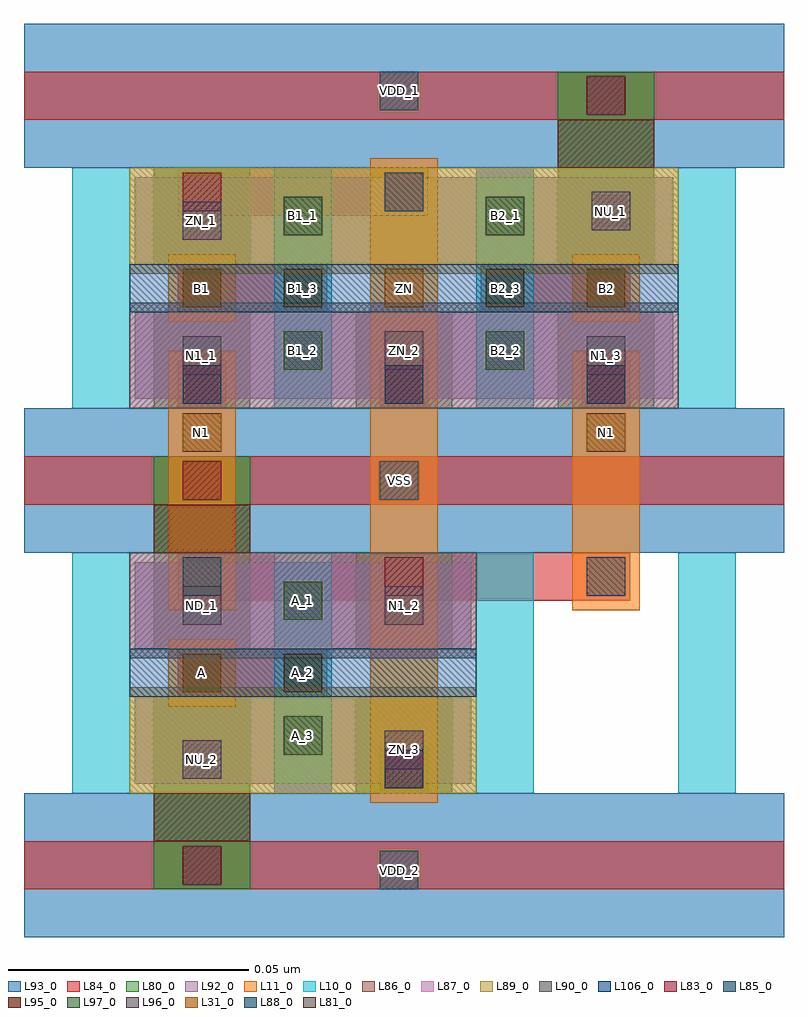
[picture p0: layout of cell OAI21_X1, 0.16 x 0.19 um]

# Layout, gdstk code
import gdstk
lib = gdstk.Library(unit=1e-6, precision=1e-09)
def R(c, l, rs):  # rectangles x0, y0, x1, y1
    for r in rs: c.add(gdstk.rectangle(r[:2], r[2:], *l))
def A(c, l, x, y, w, h, nx, ny, dx, dy):  # array of equal rectangles
    R(c, l, [(x+i*dx, y+j*dy, x+i*dx+w, y+j*dy+h) for i in range(nx) for j in range(ny)])
L10_0 = (10, 0)
L11_0 = (11, 0)
L31_0 = (31, 0)
L80_0 = (80, 0)
L81_0 = (81, 0)
L83_0 = (83, 0)
L84_0 = (84, 0)
L85_0 = (85, 0)
L86_0 = (86, 0)
L87_0 = (87, 0)
L88_0 = (88, 0)
L89_0 = (89, 0)
L90_0 = (90, 0)
L92_0 = (92, 0)
L93_0 = (93, 0)
L95_0 = (95, 0)
L96_0 = (96, 0)
L97_0 = (97, 0)
L106_0 = (106, 0)

oai21_x1 = lib.new_cell('OAI21_X1')
A(oai21_x1, L10_0, -0.027, -0.065, 0.012, 0.05, 4, 2, 0.042, 0.08)
A(oai21_x1, L11_0, -0.007, -0.027, 0.014, 0.034, 3, 2, 0.042, 0.02)
R(oai21_x1, L11_0, [(0.035,-0.067,0.049,-0.033), (-0.007,-0.047,0.007,-0.033), (0.035,-0.047,0.049,-0.013), (0.035,0.013,0.049,0.047), (-0.007,0.033,0.007,0.047), (0.035,0.033,0.049,0.067), (0.077,0.033,0.091,0.047)])
A(oai21_x1, L31_0, -0.004, 0.036, 0.008, 0.008, 3, 1, 0.042, 0)
R(oai21_x1, L31_0, [(-0.004,-0.044,0.004,-0.036), (-0.004,0.006,0.004,0.014), (0.08,0.006,0.088,0.014)])
A(oai21_x1, L80_0, -0.01, 0.015, 0.02, 0.02, 3, 1, 0.042, 0)
R(oai21_x1, L80_0, [(-0.01,-0.085,0.01,-0.064), (-0.01,-0.065,0.01,-0.045), (0.032,-0.065,0.052,-0.045), (-0.01,-0.035,0.01,-0.015), (-0.01,-0.035,0.01,-0.015), (0.032,-0.035,0.052,-0.015), (0.032,-0.035,0.052,-0.015), (-0.01,-0.024,0.01,0.005), (-0.01,0.045,0.01,0.065), (-0.01,0.045,0.01,0.065), (0.074,0.045,0.094,0.065), (0.074,0.045,0.094,0.065), (0.074,0.056,0.094,0.085)])
R(oai21_x1, L81_0, [(0.017,-0.044,0.025,-0.036), (0.017,0.036,0.025,0.044), (0.059,0.036,0.067,0.044)])
A(oai21_x1, L83_0, -0.004, 0.016, 0.008, 0.008, 3, 1, 0.042, 0)
R(oai21_x1, L83_0, [(-0.004,-0.084,0.004,-0.076), (0.038,-0.064,0.046,-0.056), (0.038,-0.024,0.046,-0.016), (-0.004,-0.004,0.004,0.004), (-0.004,0.056,0.004,0.064), (-0.004,0.056,0.004,0.064), (-0.004,0.056,0.004,0.064), (-0.004,0.056,0.004,0.064), (0.08,0.076,0.088,0.084)])
A(oai21_x1, L84_0, -0.037, -0.085, 0.158, 0.01, 1, 3, 0, 0.08)
A(oai21_x1, L84_0, -0.005, -0.025, 0.031, 0.01, 4, 1, 0.021, 0)
A(oai21_x1, L84_0, -0.005, 0.015, 0.01, 0.01, 3, 1, 0.042, 0)
R(oai21_x1, L84_0, [(0.037,-0.065,0.047,-0.055), (-0.005,-0.045,0.026,-0.035), (-0.005,0.035,0.026,0.045), (0.058,0.035,0.089,0.045), (-0.005,0.055,0.026,0.065), (0.016,0.055,0.047,0.065)])
A(oai21_x1, L85_0, -0.004, 0.016, 0.008, 0.008, 3, 1, 0.042, 0)
R(oai21_x1, L85_0, [(0.038,-0.064,0.046,-0.056), (-0.004,-0.044,0.004,-0.036), (-0.004,-0.024,0.004,-0.016), (0.08,-0.024,0.088,-0.016), (-0.004,0.036,0.004,0.044), (0.08,0.036,0.088,0.044), (0.038,0.056,0.046,0.064)])
R(oai21_x1, L86_0, [(-0.015,-0.065,0.057,-0.043), (-0.015,0.043,0.099,0.065)])
R(oai21_x1, L87_0, [(-0.015,-0.037,0.057,-0.015), (-0.015,0.015,0.099,0.037)])
A(oai21_x1, L88_0, 0.037, -0.085, 0.008, 0.008, 1, 3, 0, 0.081)
R(oai21_x1, L89_0, [(-0.015,-0.065,0.057,-0.043), (-0.015,0.043,0.099,0.065)])
R(oai21_x1, L90_0, [(-0.015,-0.037,0.057,-0.015), (-0.015,0.015,0.099,0.037)])
R(oai21_x1, L92_0, [(-0.014,-0.063,0.056,-0.045), (-0.014,-0.035,0.056,-0.017), (-0.014,0.017,0.098,0.035), (-0.014,0.045,0.098,0.063)])
A(oai21_x1, L93_0, -0.037, -0.095, 0.158, 0.03, 1, 3, 0, 0.08)
R(oai21_x1, L95_0, [(-0.01,-0.075,0.01,-0.065), (-0.01,-0.015,0.01,-0.005), (0.074,0.065,0.094,0.075)])
R(oai21_x1, L96_0, [(-0.004,-0.062,0.004,-0.054), (0.038,-0.06,0.046,-0.052), (-0.004,-0.03,0.004,-0.022), (0.038,-0.03,0.046,-0.022), (-0.004,0.022,0.004,0.03), (0.08,0.022,0.088,0.03), (0.038,0.023,0.046,0.031), (-0.004,0.05,0.004,0.058), (0.081,0.052,0.089,0.06)])
R(oai21_x1, L97_0, [(0.017,-0.057,0.025,-0.049), (0.017,-0.044,0.025,-0.036), (0.017,-0.029,0.025,-0.021), (0.017,0.023,0.025,0.031), (0.059,0.023,0.067,0.031), (0.017,0.036,0.025,0.044), (0.059,0.036,0.067,0.044), (0.017,0.051,0.025,0.059), (0.059,0.051,0.067,0.059)])
R(oai21_x1, L106_0, [(-0.015,-0.045,0.057,-0.035), (-0.015,0.035,0.099,0.045)])
oai21_x1.add(gdstk.Label('VDD_1', (0.041,0.081), layer=88, texttype=0))
oai21_x1.add(gdstk.Label('VSS', (0.041,0), layer=88, texttype=0))
oai21_x1.add(gdstk.Label('VDD_2', (0.041,-0.081), layer=88, texttype=0))
oai21_x1.add(gdstk.Label('N1', (0.084,0.01), layer=31, texttype=0))
oai21_x1.add(gdstk.Label('N1', (0,0.01), layer=31, texttype=0))
oai21_x1.add(gdstk.Label('A', (0,-0.04), layer=31, texttype=0))
oai21_x1.add(gdstk.Label('ZN', (0.042,0.04), layer=31, texttype=0))
oai21_x1.add(gdstk.Label('B2', (0.084,0.04), layer=31, texttype=0))
oai21_x1.add(gdstk.Label('B1', (0,0.04), layer=31, texttype=0))
oai21_x1.add(gdstk.Label('A_3', (0.021,-0.053), layer=97, texttype=0))
oai21_x1.add(gdstk.Label('A_2', (0.021,-0.04), layer=97, texttype=0))
oai21_x1.add(gdstk.Label('A_1', (0.021,-0.025), layer=97, texttype=0))
oai21_x1.add(gdstk.Label('B1_2', (0.021,0.027), layer=97, texttype=0))
oai21_x1.add(gdstk.Label('B1_3', (0.021,0.04), layer=97, texttype=0))
oai21_x1.add(gdstk.Label('B1_1', (0.021,0.055), layer=97, texttype=0))
oai21_x1.add(gdstk.Label('B2_2', (0.063,0.027), layer=97, texttype=0))
oai21_x1.add(gdstk.Label('B2_1', (0.063,0.055), layer=97, texttype=0))
oai21_x1.add(gdstk.Label('B2_3', (0.063,0.04), layer=97, texttype=0))
oai21_x1.add(gdstk.Label('ZN_1', (0,0.054), layer=96, texttype=0))
oai21_x1.add(gdstk.Label('ZN_2', (0.042,0.027), layer=96, texttype=0))
oai21_x1.add(gdstk.Label('ZN_3', (0.042,-0.056), layer=96, texttype=0))
oai21_x1.add(gdstk.Label('N1_3', (0.084,0.026), layer=96, texttype=0))
oai21_x1.add(gdstk.Label('N1_1', (0,0.026), layer=96, texttype=0))
oai21_x1.add(gdstk.Label('N1_2', (0.042,-0.026), layer=96, texttype=0))
oai21_x1.add(gdstk.Label('ND_1', (0,-0.026), layer=96, texttype=0))
oai21_x1.add(gdstk.Label('NU_2', (0,-0.058), layer=96, texttype=0))
oai21_x1.add(gdstk.Label('NU_1', (0.085,0.056), layer=96, texttype=0))

lib.write_gds('OAI21_X1.gds')
